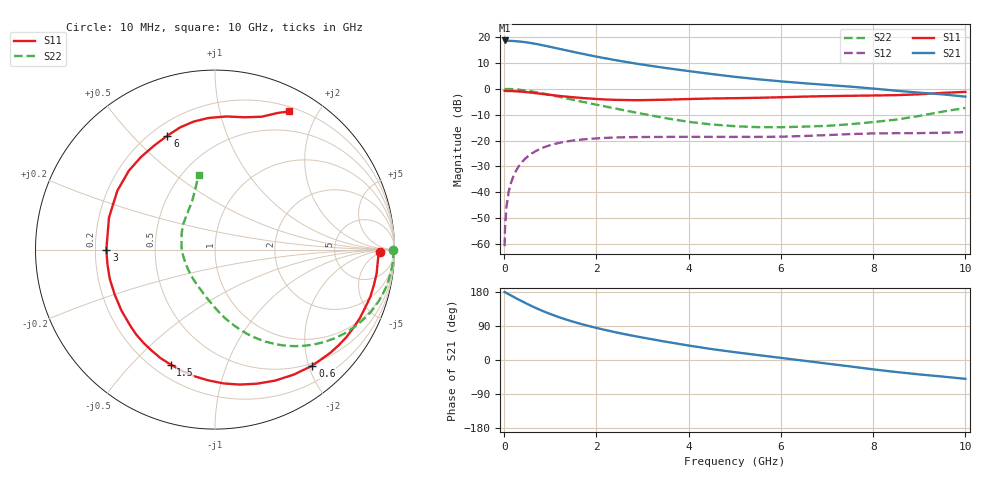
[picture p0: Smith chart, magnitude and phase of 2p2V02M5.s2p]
! (c) 2009  Infineon Technologies AG, Munich
! Infineon Technologies  Discrete & RF Semiconductors
! BFP420
! VCE =  2.0 V,  IC =  2.5 mA
! Common Emitter S-Parameters:  Nov 2009
# GHz  S  MA  R  50
!  f  S11  S21  S12  S22
! GHz  MAG  ANG  MAG  ANG  MAG  ANG  MAG  ANG
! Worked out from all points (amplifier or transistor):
!   46 points, 10 MHz to 10 GHz, reference 50 ohm
!   highest |S21| = 18.7 dB at 10 MHz (marker M1)
!   |S21| within 3 dB of that: start of sweep to 1.134 GHz
!   unconditionally stable (mu >= 1): 3.71 GHz to end of sweep
!   at 300 MHz: K = 0.05, MSG = 24.4 dB, |S12| = -30.4 dB
!   at 1.7 GHz: K = 0.40, MSG = 16.6 dB, |S12| = -19.6 dB
!   at 10 GHz: K = 1.19, MAG = 4.2 dB, |S12| = -16.8 dB
!   lowest NFmin = 0.55 dB at 900 MHz
!   S11 on the Smith chart (normalised r, x): 10 MHz: 23, -5; 600 MHz: 0.46, -2.06; 1.5 GHz: 0.27, -0.65; 3 GHz: 0.25, -0.00; 6 GHz: 0.26, +0.63; 10 GHz: 0.25, +1.64
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0.01  0.9192 -1.0  8.655 179.2  0.0009 126.1  0.9921 0.0
0.02  0.9109 -1.7  8.427 179.0  0.0021 91.2  0.9938 -0.9
0.05  0.9095 -4.2  8.464 176.7  0.0052 88.7  0.9939 -2.5
0.15  0.907 -12.7  8.484 170.2  0.0153 82.9  0.9878 -7.5
0.35  0.8855 -29.7  8.235 157.3  0.0349 73.4  0.957 -17.3
0.5  0.8622 -41.9  7.913 148.0  0.0481 66.6  0.9199 -24.3
0.6  0.8439 -50.0  7.663 142.1  0.0562 62.2  0.8914 -28.7
0.8  0.8032 -65.3  7.087 131.2  0.0701 54.3  0.8278 -36.8
1  0.7645 -79.6  6.51 121.4  0.0814 47.3  0.7619 -44.0
1.2  0.7295 -93.0  5.948 112.5  0.0902 41.2  0.6982 -50.4
1.5  0.6866 -111.1  5.202 101.0  0.1001 33.5  0.6121 -58.6
1.7  0.6637 -122.3  4.777 94.0  0.1048 29.0  0.5613 -63.4
2.2  0.6224 -146.8  3.9 79.0  0.1125 20.0  0.4549 -73.9
2.6  0.6086 -164.6  3.37 68.5  0.1156 14.1  0.385 -81.8
3  0.6053 -180.0  2.949 59.2  0.1169 9.5  0.3282 -89.3
3.5  0.617 163.2  2.536 48.3  0.1174 4.8  0.2709 -100.2
4.5  0.6509 137.5  1.936 28.8  0.1176 -1.6  0.2043 -126.5
5.5  0.6712 120.5  1.535 13.0  0.1175 -5.3  0.1815 -153.3
6  0.6881 112.7  1.398 5.6  0.1188 -6.2  0.1808 -167.7
7  0.7233 99.4  1.191 -9.5  0.1272 -8.9  0.1921 166.5
8.5  0.7556 77.3  0.921 -31.7  0.1384 -18.2  0.2538 127.4
10  0.8739 61.8  0.707 -49.7  0.1451 -24.0  0.4267 102.4
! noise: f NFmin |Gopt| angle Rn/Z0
0.9  0.55  0.41  33  0.2
1.8  1.02  0.24  78  0.16
2.4  1.11  0.26  103  0.15
3  1.28  0.27  140  0.11
4  1.5  0.34  -163  0.1
5  1.85  0.4  -130  0.26
6  2.56  0.5  -109  0.35
